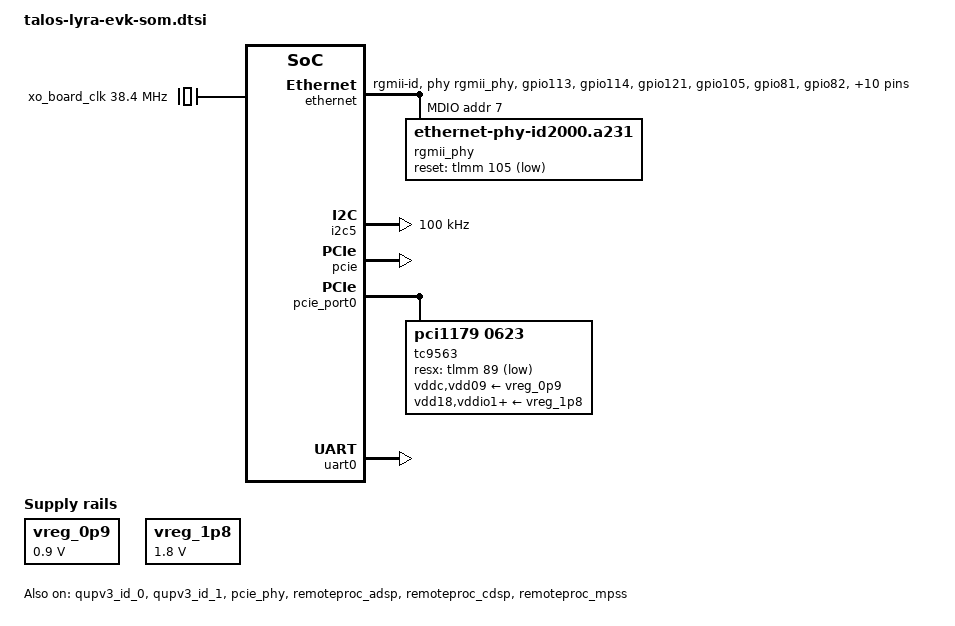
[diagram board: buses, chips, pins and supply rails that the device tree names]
// SPDX-License-Identifier: BSD-3-Clause
/*
 * Copyright (c) Qualcomm Technologies, Inc. and/or its subsidiaries.
 */
/dts-v1/;

#include <dt-bindings/gpio/gpio.h>
#include <dt-bindings/regulator/qcom,rpmh-regulator.h>
#include "talos.dtsi"
#include "pm8150.dtsi"
/ {
	aliases {
		serial0 = &uart0;
	};

	chosen {
		stdout-path = "serial0:115200n8";
	};

	clocks {
		sleep_clk: sleep-clk {
			compatible = "fixed-clock";
			clock-frequency = <32764>;
			#clock-cells = <0>;
		};

		xo_board_clk: xo-board-clk {
			compatible = "fixed-clock";
			clock-frequency = <38400000>;
			#clock-cells = <0>;
		};
	};

	vreg_0p9: regulator-0v9 {
		compatible = "regulator-fixed";
		regulator-name = "VREG_0P9";
		regulator-min-microvolt = <900000>;
		regulator-max-microvolt = <900000>;
		regulator-always-on;
		regulator-boot-on;
	};

	vreg_1p8: regulator-1v8 {
		compatible = "regulator-fixed";
		regulator-name = "VREG_1P8";
		regulator-min-microvolt = <1800000>;
		regulator-max-microvolt = <1800000>;
		regulator-always-on;
		regulator-boot-on;
	};

};

&apps_rsc {
	regulators-0 {
		compatible = "qcom,pm8150-rpmh-regulators";
		qcom,pmic-id = "a";

		vreg_s3a: smps3 {
			regulator-name = "vreg_s3a";
			regulator-min-microvolt = <600000>;
			regulator-max-microvolt = <650000>;
			regulator-initial-mode = <RPMH_REGULATOR_MODE_HPM>;
		};

		vreg_s4a: smps4 {
			regulator-name = "vreg_s4a";
			regulator-min-microvolt = <1800000>;
			regulator-max-microvolt = <1829000>;
			regulator-initial-mode = <RPMH_REGULATOR_MODE_HPM>;
		};

		vreg_s5a: smps5 {
			regulator-name = "vreg_s5a";
			regulator-min-microvolt = <1896000>;
			regulator-max-microvolt = <2040000>;
			regulator-initial-mode = <RPMH_REGULATOR_MODE_HPM>;
		};

		vreg_s6a: smps6 {
			regulator-name = "vreg_s6a";
			regulator-min-microvolt = <1304000>;
			regulator-max-microvolt = <1404000>;
			regulator-initial-mode = <RPMH_REGULATOR_MODE_HPM>;
		};

		vreg_l1a: ldo1 {
			regulator-name = "vreg_l1a";
			regulator-min-microvolt = <488000>;
			regulator-max-microvolt = <852000>;
			regulator-initial-mode = <RPMH_REGULATOR_MODE_LPM>;
			regulator-allow-set-load;
			regulator-allowed-modes = <RPMH_REGULATOR_MODE_LPM
						   RPMH_REGULATOR_MODE_HPM>;
		};

		vreg_l2a: ldo2 {
			regulator-name = "vreg_l2a";
			regulator-min-microvolt = <1650000>;
			regulator-max-microvolt = <3100000>;
			regulator-initial-mode = <RPMH_REGULATOR_MODE_LPM>;
			regulator-allow-set-load;
			regulator-allowed-modes = <RPMH_REGULATOR_MODE_LPM
						   RPMH_REGULATOR_MODE_HPM>;
		};

		vreg_l3a: ldo3 {
			regulator-name = "vreg_l3a";
			regulator-min-microvolt = <1000000>;
			regulator-max-microvolt = <1248000>;
			regulator-initial-mode = <RPMH_REGULATOR_MODE_LPM>;
			regulator-allow-set-load;
			regulator-allowed-modes = <RPMH_REGULATOR_MODE_LPM
						   RPMH_REGULATOR_MODE_HPM>;
		};

		vreg_l5a: ldo5 {
			regulator-name = "vreg_l5a";
			regulator-min-microvolt = <875000>;
			regulator-max-microvolt = <975000>;
			regulator-initial-mode = <RPMH_REGULATOR_MODE_HPM>;
			regulator-allow-set-load;
			regulator-allowed-modes = <RPMH_REGULATOR_MODE_LPM
						   RPMH_REGULATOR_MODE_HPM>;
		};

		vreg_l7a: ldo7 {
			regulator-name = "vreg_l7a";
			regulator-min-microvolt = <1800000>;
			regulator-max-microvolt = <1900000>;
			regulator-initial-mode = <RPMH_REGULATOR_MODE_HPM>;
			regulator-allow-set-load;
			regulator-allowed-modes = <RPMH_REGULATOR_MODE_LPM
						   RPMH_REGULATOR_MODE_HPM>;
		};

		vreg_l8a: ldo8 {
			regulator-name = "vreg_l8a";
			regulator-min-microvolt = <1150000>;
			regulator-max-microvolt = <1350000>;
			regulator-initial-mode = <RPMH_REGULATOR_MODE_HPM>;
			regulator-allow-set-load;
			regulator-allowed-modes = <RPMH_REGULATOR_MODE_LPM
						   RPMH_REGULATOR_MODE_HPM>;
		};

		vreg_l10a: ldo10 {
			regulator-name = "vreg_l10a";
			regulator-min-microvolt = <2950000>;
			regulator-max-microvolt = <3312000>;
			regulator-initial-mode = <RPMH_REGULATOR_MODE_HPM>;
			regulator-allow-set-load;
			regulator-allowed-modes = <RPMH_REGULATOR_MODE_LPM
						   RPMH_REGULATOR_MODE_HPM>;
		};

		vreg_l11a: ldo11 {
			regulator-name = "vreg_l11a";
			regulator-min-microvolt = <1232000>;
			regulator-max-microvolt = <1260000>;
			regulator-initial-mode = <RPMH_REGULATOR_MODE_LPM>;
			regulator-allow-set-load;
			regulator-allowed-modes = <RPMH_REGULATOR_MODE_LPM
						   RPMH_REGULATOR_MODE_HPM>;
		};

		vreg_l12a: ldo12 {
			regulator-name = "vreg_l12a";
			regulator-min-microvolt = <1800000>;
			regulator-max-microvolt = <1890000>;
			regulator-initial-mode = <RPMH_REGULATOR_MODE_HPM>;
		};

		vreg_l13a: ldo13 {
			regulator-name = "vreg_l13a";
			regulator-min-microvolt = <3000000>;
			regulator-max-microvolt = <3230000>;
			regulator-initial-mode = <RPMH_REGULATOR_MODE_LPM>;
			regulator-allow-set-load;
			regulator-allowed-modes = <RPMH_REGULATOR_MODE_LPM
						   RPMH_REGULATOR_MODE_HPM>;
		};

		vreg_l15a: ldo15 {
			regulator-name = "vreg_l15a";
			regulator-min-microvolt = <1800000>;
			regulator-max-microvolt = <1904000>;
			regulator-initial-mode = <RPMH_REGULATOR_MODE_LPM>;
			regulator-allow-set-load;
			regulator-allowed-modes = <RPMH_REGULATOR_MODE_LPM
						   RPMH_REGULATOR_MODE_HPM>;
		};

		vreg_l16a: ldo16 {
			regulator-name = "vreg_l16a";
			regulator-min-microvolt = <3000000>;
			regulator-max-microvolt = <3312000>;
			regulator-initial-mode = <RPMH_REGULATOR_MODE_LPM>;
			regulator-allow-set-load;
			regulator-allowed-modes = <RPMH_REGULATOR_MODE_LPM
						   RPMH_REGULATOR_MODE_HPM>;
		};

		vreg_l17a: ldo17 {
			regulator-name = "vreg_l17a";
			regulator-min-microvolt = <2950000>;
			regulator-max-microvolt = <3312000>;
			regulator-initial-mode = <RPMH_REGULATOR_MODE_HPM>;
		};
	};
};

&ethernet {
	pinctrl-0 = <&ethernet_defaults>;
	pinctrl-names = "default";

	phy-handle = <&rgmii_phy>;
	phy-mode = "rgmii-id";

	snps,mtl-rx-config = <&mtl_rx_setup>;
	snps,mtl-tx-config = <&mtl_tx_setup>;

	status = "okay";

	mdio: mdio {
		compatible = "snps,dwmac-mdio";
		#address-cells = <1>;
		#size-cells = <0>;

		rgmii_phy: ethernet-phy@7 {
			compatible = "ethernet-phy-id2000.a231";
			reg = <0x7>;

			reset-gpios = <&tlmm 105 GPIO_ACTIVE_LOW>;
			reset-assert-us = <11000>;
			reset-deassert-us = <70000>;
		};
	};

	mtl_rx_setup: rx-queues-config {
		snps,rx-queues-to-use = <1>;
		snps,rx-sched-sp;

		queue0 {
		  snps,dcb-algorithm;
		  snps,map-to-dma-channel = <0x0>;
		  snps,route-up;
		  snps,priority = <0x1>;
		};
	};

	mtl_tx_setup: tx-queues-config {
		snps,tx-queues-to-use = <1>;
		snps,tx-sched-wrr;

		queue0 {
			snps,weight = <0x10>;
			snps,dcb-algorithm;
			snps,priority = <0x0>;
		};
	};
};

&gcc {
	clocks = <&rpmhcc RPMH_CXO_CLK>,
		 <&rpmhcc RPMH_CXO_CLK_A>,
		 <&sleep_clk>;
};

&qupv3_id_0 {
	status = "okay";
};

&qupv3_id_1 {
	status = "okay";
};

&i2c5 {
	clock-frequency = <100000>;

	status = "okay";
};

&pcie {
	wake-gpios = <&tlmm 100 GPIO_ACTIVE_HIGH>;

	iommu-map = <0x0 &apps_smmu 0x400 0x1>,
			<0x100 &apps_smmu 0x401 0x1>,
			<0x208 &apps_smmu 0x402 0x1>,
			<0x210 &apps_smmu 0x403 0x1>,
			<0x218 &apps_smmu 0x404 0x1>,
			<0x300 &apps_smmu 0x405 0x1>,
			<0x400 &apps_smmu 0x406 0x1>,
			<0x500 &apps_smmu 0x407 0x1>,
			<0x501 &apps_smmu 0x408 0x1>;

	status = "okay";
};

&pcie_phy {
	vdda-phy-supply = <&vreg_l5a>;
	vdda-pll-supply = <&vreg_l12a>;

	status = "okay";
};

&pcie_port0 {
	tc9563: pcie@0,0 {
		compatible = "pci1179,0623";
		reg = <0x10000 0x0 0x0 0x0 0x0>;
		#address-cells = <3>;
		#size-cells = <2>;
		#gpio-cells = <2>;
		device_type = "pci";
		ranges;
		bus-range = <0x2 0xff>;

		vddc-supply = <&vreg_0p9>;
		vdd18-supply = <&vreg_1p8>;
		vdd09-supply = <&vreg_0p9>;
		vddio1-supply = <&vreg_1p8>;
		vddio2-supply = <&vreg_1p8>;
		vddio18-supply = <&vreg_1p8>;

		i2c-parent = <&i2c5 0x77>;

		resx-gpios = <&tlmm 89 GPIO_ACTIVE_LOW>;

		pinctrl-0 = <&tc9563_resx_state>;
		pinctrl-names = "default";

		pcie@1,0 {
			reg = <0x20800 0x0 0x0 0x0 0x0>;
			#address-cells = <3>;
			#size-cells = <2>;
			device_type = "pci";
			ranges;
			bus-range = <0x3 0xff>;

			ep-pwr-en-gpio = <&tc9563 2 GPIO_ACTIVE_HIGH>;
			ep-reset-gpio = <&tc9563 5 GPIO_ACTIVE_HIGH>;
		};

		pcie@2,0 {
			reg = <0x21000 0x0 0x0 0x0 0x0>;
			#address-cells = <3>;
			#size-cells = <2>;
			device_type = "pci";
			ranges;
			bus-range = <0x4 0xff>;

			ep-pwr-en-gpio = <&tc9563 4 GPIO_ACTIVE_HIGH>;
			ep-reset-gpio = <&tc9563 3 GPIO_ACTIVE_HIGH>;
		};

		pcie@3,0 {
			reg = <0x21800 0x0 0x0 0x0 0x0>;
			#address-cells = <3>;
			#size-cells = <2>;
			device_type = "pci";
			ranges;
			bus-range = <0x5 0xff>;

			pci@0,0 {
				reg = <0x50000 0x0 0x0 0x0 0x0>;
				#address-cells = <3>;
				#size-cells = <2>;
				device_type = "pci";
				ranges;
			};

			pci@0,1 {
				reg = <0x50100 0x0 0x0 0x0 0x0>;
				#address-cells = <3>;
				#size-cells = <2>;
				device_type = "pci";
				ranges;
			};
		};
	};
};

&remoteproc_adsp {
	firmware-name = "qcom/qcs615/adsp.mbn";

	status = "okay";
};

&remoteproc_cdsp {
	firmware-name = "qcom/qcs615/cdsp.mbn";

	status = "okay";
};

&remoteproc_mpss {
	firmware-name = "qcom/qcs615/qdsp6sw.mbn";

	status = "okay";
};

&rpmhcc {
	clocks = <&xo_board_clk>;
};

&tlmm {
	ethernet_defaults: ethernet-defaults-state {
		mdc-pins {
			pins = "gpio113";
			function = "rgmii";
			bias-pull-up;
		};

		mdio-pins {
			pins = "gpio114";
			function = "rgmii";
			bias-pull-up;
		};

		phy-intr-pins {
			pins = "gpio121";
			function = "gpio";
			bias-disable;
			drive-strength = <8>;
		};

		phy-reset-pins {
			pins = "gpio105";
			function = "gpio";
			bias-pull-up;
			drive-strength = <16>;
		};

		rgmii-rx-pins {
			pins = "gpio81", "gpio82", "gpio83", "gpio102", "gpio103", "gpio112";
			function = "rgmii";
			bias-disable;
			drive-strength = <2>;
		};

		rgmii-tx-pins {
			pins = "gpio92", "gpio93", "gpio94", "gpio95", "gpio96", "gpio97";
			function = "rgmii";
			bias-pull-up;
			drive-strength = <16>;
		};
	};

	pcie_default_state: pcie-default-state {
		clkreq-pins {
			pins = "gpio90";
			function = "pcie_clk_req";
			drive-strength = <2>;
			bias-pull-up;
		};

		wake-pins {
			pins = "gpio100";
			function = "gpio";
			drive-strength = <2>;
			bias-pull-up;
		};
	};

	tc9563_resx_state: tc9563-resx-state {
		pins = "gpio89";
		function = "gpio";
		drive-strength = <2>;
		bias-disable;
	};
};

&uart0 {
	status = "okay";
};
